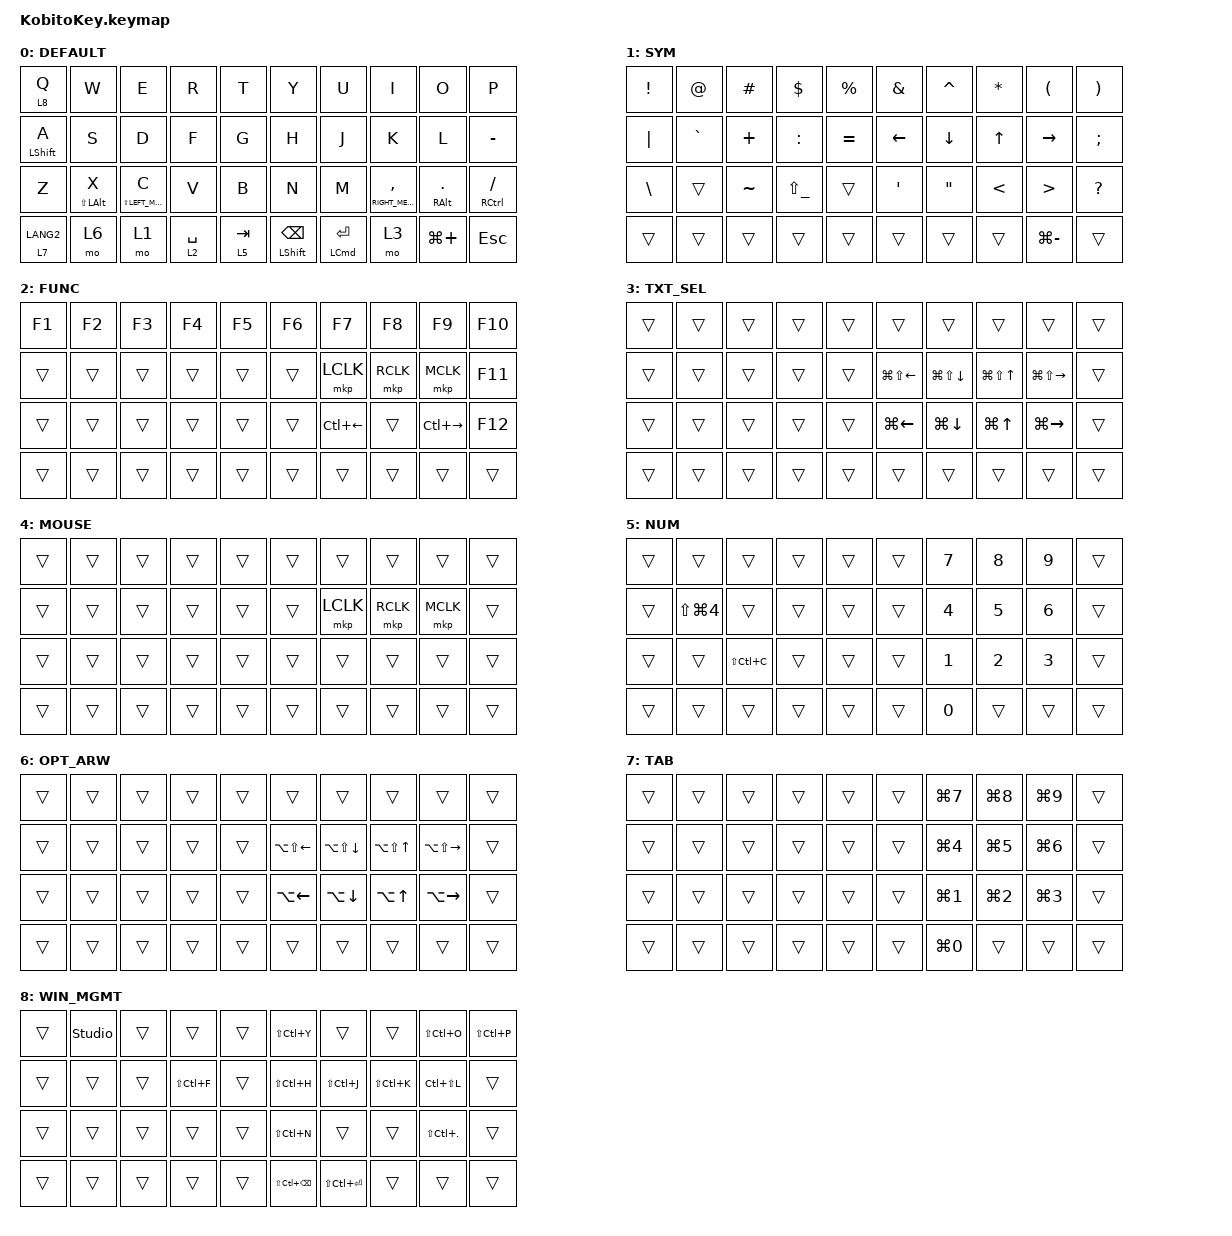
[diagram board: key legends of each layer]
#include <input/processors.dtsi>
#include <behaviors.dtsi>
#include <dt-bindings/zmk/keys.h>
#include <dt-bindings/zmk/pointing.h>

/*
 * zmk-config-moNa2-v2 (元は zmk-config-roBa) のキーマップを KobitoKey (40 キー) へ移植したもの。
 * moNa2 (42 キー) と比べて、2 行目の右内側キー (Cmd++ / Cmd+-) と
 * 3 行目の左右内側キー ([ ] / { }) が無いので、各レイヤーからその 3 箇所を除いている。
 * 親指行は moNa2 が左 6 + 右 3、KobitoKey が左 5 + 右 5 なので、
 * 左端の Tab を右親指の内側 (index 35) に移し、余った index 38 に Cmd++ / Cmd+- を仮置きしている。
 * ロータリーエンコーダは無いため sensor-bindings は無し。
 *
 * macOS 前提 (LG = Command、LA = Option)。日本語入力は LANG1 / LANG2 で切替。
 * 右トラックボールのオートマウスレイヤー (layer 4) は
 * boards/shields/KobitoKey/KobitoKey_left.overlay の &zip_temp_layer で指定している。
 *
 * index:
 *   0- 9  1 行目 / 10-19  2 行目 / 20-29  3 行目
 *  30-34  左親指行 (30,31 は小指・薬指側、32-34 が親指クラスタ)
 *  35-39  右親指行 (35-37 が親指クラスタ、38,39 は薬指・小指側)
 */

&mt {
    flavor = "balanced";
    quick-tap-ms = <0>;
};

/ {
    combos {
        compatible = "zmk,combos";

        /* LANG2 キー + Backspace キーの同時押しで LANG1 (moNa2 の 33 + 39 に相当) */

        lang1 {
            bindings = <&kp LANGUAGE_1>;
            key-positions = <30 36>;
        };
    };

    macros {
        to_layer_0: to_layer_0 {
            compatible = "zmk,behavior-macro-one-param";
            #binding-cells = <1>;
            bindings = <&to 0 &macro_param_1to1 &kp MACRO_PLACEHOLDER>;
            label = "TO_LAYER_0";
        };
    };

    behaviors {
        lt_to_layer_0: lt_to_layer_0 {
            compatible = "zmk,behavior-hold-tap";
            label = "LAYER_TAP_TO_0";
            bindings = <&mo>, <&to_layer_0>;

            #binding-cells = <2>;
            tapping-term-ms = <200>;
        };

        mt_slow: mt_slow {
            compatible = "zmk,behavior-hold-tap";
            label = "MOD_TAP_SLOW";
            bindings = <&kp>, <&kp>;

            #binding-cells = <2>;
            flavor = "balanced";
            tapping-term-ms = <300>;
            quick-tap-ms = <0>;
        };

        mt_fast: mt_fast {
            compatible = "zmk,behavior-hold-tap";
            label = "MT_FAST";
            bindings = <&kp>, <&kp>;

            #binding-cells = <2>;
            flavor = "balanced";
            tapping-term-ms = <145>;
            quick-tap-ms = <0>;
        };
    };

    keymap {
        compatible = "zmk,keymap";

        default_layer {
            display-name = "DEFAULT";
            bindings = <
&lt 8 Q                &kp W                    &kp E                     &kp R        &kp T                 &kp Y                     &kp U                   &kp I                 &kp O                 &kp P
&mt_slow LEFT_SHIFT A  &kp S                    &kp D                     &kp F        &kp G                 &kp H                     &kp J                   &kp K                 &kp L                 &kp MINUS
&kp Z                  &mt_slow LS(LEFT_ALT) X  &mt_slow LS(LEFT_META) C  &kp V        &kp B                 &kp N                     &kp M                   &mt RIGHT_META COMMA  &mt RIGHT_ALT PERIOD  &mt_fast RCTRL SLASH
&lt 7 LANG2            &mo 6                    &mo 1                     &lt 2 SPACE  &lt_to_layer_0 5 TAB  &mt LEFT_SHIFT BACKSPACE  &mt LEFT_COMMAND ENTER  &mo 3                 &kp LG(PLUS)          &kp ESCAPE
            >;
        };

        layer_1 {
            display-name = "SYM";
            bindings = <
&kp EXCLAMATION  &kp AT_SIGN  &kp HASH   &kp DOLLAR          &kp PERCENT  &kp AMPERSAND     &kp CARET          &kp ASTERISK   &kp LEFT_PARENTHESIS  &kp RIGHT_PARENTHESIS
&kp PIPE         &kp GRAVE    &kp PLUS   &kp COLON           &kp EQUAL    &kp LEFT_ARROW    &kp DOWN_ARROW     &kp UP_ARROW   &kp RIGHT_ARROW       &kp SEMICOLON
&kp BACKSLASH    &trans       &kp TILDE  &kp LS(UNDERSCORE)  &trans       &kp SINGLE_QUOTE  &kp DOUBLE_QUOTES  &kp LESS_THAN  &kp GREATER_THAN      &kp QUESTION
&trans           &trans       &trans     &trans              &trans       &trans            &trans             &trans         &kp LG(MINUS)         &trans
            >;
        };

        layer_2_mouse_click_and_func {
            display-name = "FUNC";
            bindings = <
&kp F1  &kp F2  &kp F3  &kp F4  &kp F5  &kp F6  &kp F7              &kp F8     &kp F9               &kp F10
&trans  &trans  &trans  &trans  &trans  &trans  &mkp LCLK           &mkp RCLK  &mkp MCLK            &kp F11
&trans  &trans  &trans  &trans  &trans  &trans  &kp LC(LEFT_ARROW)  &trans     &kp LC(RIGHT_ARROW)  &kp F12
&trans  &trans  &trans  &trans  &trans  &trans  &trans              &trans     &trans               &trans
            >;
        };

        layer_3_text_select {
            display-name = "TXT_SEL";
            bindings = <
&trans  &trans  &trans  &trans  &trans  &trans                  &trans                  &trans                &trans             &trans
&trans  &trans  &trans  &trans  &trans  &kp LG(LS(LEFT_ARROW))  &kp LG(LS(DOWN_ARROW))  &kp LG(LS(UP_ARROW))  &kp LG(LS(RIGHT))  &trans
&trans  &trans  &trans  &trans  &trans  &kp LG(LEFT)            &kp LG(DOWN)            &kp LG(UP)            &kp LG(RIGHT)      &trans
&trans  &trans  &trans  &trans  &trans  &trans                  &trans                  &trans                &trans             &trans
            >;
        };

        /* 右トラックボールのオートマウスレイヤー (KobitoKey_left.overlay の &zip_temp_layer 4 ...) */

        layer_4_mouse_layer {
            display-name = "MOUSE";
            bindings = <
&trans  &trans  &trans  &trans  &trans  &trans  &trans     &trans     &trans     &trans
&trans  &trans  &trans  &trans  &trans  &trans  &mkp LCLK  &mkp RCLK  &mkp MCLK  &trans
&trans  &trans  &trans  &trans  &trans  &trans  &trans     &trans     &trans     &trans
&trans  &trans  &trans  &trans  &trans  &trans  &trans     &trans     &trans     &trans
            >;
        };

        /* moNa2 ではトラックボールがスクロールになるレイヤー。KobitoKey は左ボールが常時スクロールなのでテンキーのみ */

        layer_5_num {
            display-name = "NUM";
            bindings = <
&trans  &trans                &trans         &trans  &trans  &trans  &kp N7        &kp N8  &kp N9  &trans
&trans  &kp LS(LG(NUMBER_4))  &trans         &trans  &trans  &trans  &kp N4        &kp N5  &kp N6  &trans
&trans  &trans                &kp LS(LC(C))  &trans  &trans  &trans  &kp N1        &kp N2  &kp N3  &trans
&trans  &trans                &trans         &trans  &trans  &trans  &kp NUMBER_0  &trans  &trans  &trans
            >;
        };

        layer_6 {
            display-name = "OPT_ARW";
            bindings = <
&trans  &trans  &trans  &trans  &trans  &trans                  &trans                  &trans                &trans                   &trans
&trans  &trans  &trans  &trans  &trans  &kp LA(LS(LEFT_ARROW))  &kp LA(LS(DOWN_ARROW))  &kp LA(LS(UP_ARROW))  &kp LA(LS(RIGHT_ARROW))  &trans
&trans  &trans  &trans  &trans  &trans  &kp LA(LEFT)            &kp LA(DOWN)            &kp LA(UP)            &kp LA(RIGHT)            &trans
&trans  &trans  &trans  &trans  &trans  &trans                  &trans                  &trans                &trans                   &trans
            >;
        };

        layer_7_change_browser_tab {
            display-name = "TAB";
            bindings = <
&trans  &trans  &trans  &trans  &trans  &trans  &kp LG(NUMBER_7)  &kp LG(NUMBER_8)  &kp LG(NUMBER_9)  &trans
&trans  &trans  &trans  &trans  &trans  &trans  &kp LG(NUMBER_4)  &kp LG(NUMBER_5)  &kp LG(NUMBER_6)  &trans
&trans  &trans  &trans  &trans  &trans  &trans  &kp LG(NUMBER_1)  &kp LG(NUMBER_2)  &kp LG(NUMBER_3)  &trans
&trans  &trans  &trans  &trans  &trans  &trans  &kp LG(NUMBER_0)  &trans            &trans            &trans
            >;
        };

        /* Q 長押しで入る。W の位置に &studio_unlock (ZMK Studio のアンロック) */

        layer_8_move_window {
            display-name = "WIN_MGMT";
            bindings = <
&trans  &studio_unlock  &trans  &trans         &trans  &kp LS(LC(Y))          &trans             &trans         &kp LS(LC(O))    &kp LS(LC(P))
&trans  &trans          &trans  &kp LS(LC(F))  &trans  &kp LS(LC(H))          &kp LS(LC(J))      &kp LS(LC(K))  &kp LC(LS(L))    &trans
&trans  &trans          &trans  &trans         &trans  &kp LS(LC(N))          &trans             &trans         &kp LS(LC(DOT))  &trans
&trans  &trans          &trans  &trans         &trans  &kp LS(LC(BACKSPACE))  &kp LS(LC(ENTER))  &trans         &trans           &trans
            >;
        };
    };
};
